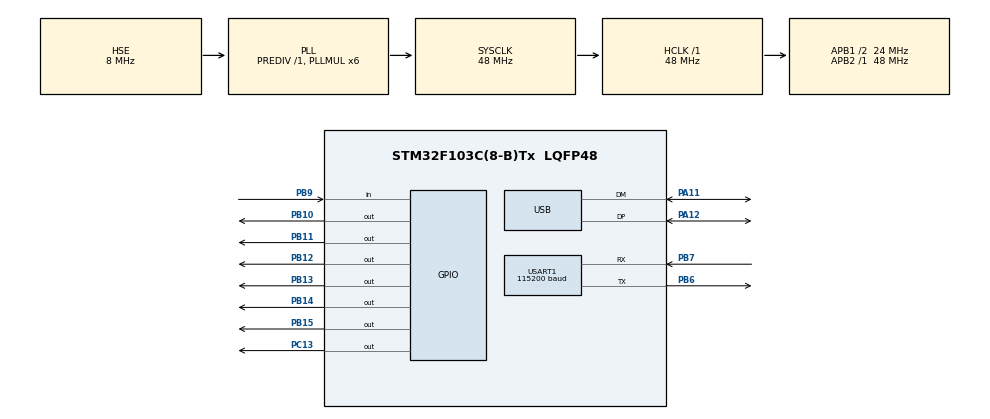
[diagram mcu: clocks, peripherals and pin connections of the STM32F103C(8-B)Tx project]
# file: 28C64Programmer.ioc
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Dma.Request0=USART1_RX
Dma.USART1_RX.0.Direction=DMA_PERIPH_TO_MEMORY
Dma.USART1_RX.0.Instance=DMA1_Channel5
Dma.USART1_RX.0.MemDataAlignment=DMA_MDATAALIGN_BYTE
Dma.USART1_RX.0.MemInc=DMA_MINC_ENABLE
Dma.USART1_RX.0.Mode=DMA_CIRCULAR
Dma.USART1_RX.0.PeriphDataAlignment=DMA_PDATAALIGN_BYTE
Dma.USART1_RX.0.PeriphInc=DMA_PINC_DISABLE
Dma.USART1_RX.0.Priority=DMA_PRIORITY_LOW
Mcu.Family=STM32F1
Mcu.Name=STM32F103C(8-B)Tx
Mcu.Package=LQFP48
NVIC.DMA1_Channel5_IRQn=true\:0\:0\:false\:false\:true\:false
NVIC.PriorityGroup=NVIC_PRIORITYGROUP_4
NVIC.USART1_IRQn=true\:0\:0\:false\:false\:true\:true
NVIC.USB_LP_CAN1_RX0_IRQn=true\:0\:0\:false\:false\:true\:false
PA11.Mode=Device
PA11.Signal=USB_DM
PA12.Mode=Device
PA12.Signal=USB_DP
PA13.Mode=Serial_Wire
PA13.Signal=SYS_JTMS-SWDIO
PA14.Mode=Serial_Wire
PA14.Signal=SYS_JTCK-SWCLK
PB10.Signal=GPIO_Output
PB11.Signal=GPIO_Output
PB12.Signal=GPIO_Output
PB13.Signal=GPIO_Output
PB14.Signal=GPIO_Output
PB15.Signal=GPIO_Output
PB6.Mode=Asynchronous
PB6.Signal=USART1_TX
PB7.Mode=Asynchronous
PB7.Signal=USART1_RX
PB9.GPIO_PuPd=GPIO_NOPULL
PB9.Signal=GPIO_Input
PC13-TAMPER-RTC.Signal=GPIO_Output
PD0-OSC_IN.Mode=HSE-External-Oscillator
PD0-OSC_IN.Signal=RCC_OSC_IN
PD1-OSC_OUT.Mode=HSE-External-Oscillator
PD1-OSC_OUT.Signal=RCC_OSC_OUT
ProjectManager.HeapSize=0x200
ProjectManager.StackSize=0x400
ProjectManager.TargetToolchain=SW4STM32
RCC.AHBFreq_Value=48000000
RCC.APB1CLKDivider=RCC_HCLK_DIV2
RCC.APB1Freq_Value=24000000
RCC.APB1TimFreq_Value=48000000
RCC.APB2Freq_Value=48000000
RCC.APB2TimFreq_Value=48000000
RCC.HCLKFreq_Value=48000000
RCC.PLLMUL=RCC_PLL_MUL6
RCC.SYSCLKFreq_VALUE=48000000
RCC.SYSCLKSource=RCC_SYSCLKSOURCE_PLLCLK
RCC.USBFreq_Value=48000000
USART1.BaudRate=115200
USART1.VirtualMode=VM_ASYNC
USB_DEVICE.CLASS_NAME_FS=MSC
USB_DEVICE.VirtualMode=Msc
USB_DEVICE.VirtualModeFS=Msc_FS
VP_TIM1_VS_ClockSourceITR.Mode=TriggerSource_ITR0
VP_USB_DEVICE_VS_USB_DEVICE_MSC_FS.Mode=MSC_FS
board=custom

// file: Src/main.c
/* USER CODE BEGIN Header */
/**
  ******************************************************************************
  * @file           : main.c
  * @brief          : Main program body
  ******************************************************************************
  * This notice applies to any and all portions of this file
  * that are not between comment pairs USER CODE BEGIN and
  * USER CODE END. Other portions of this file, whether
  * inserted by the user or by software development tools
  * are owned by their respective copyright owners.
  *
  * Copyright (c) 2019 STMicroelectronics International N.V.
  * All rights reserved.
  *
  * Redistribution and use in source and binary forms, with or without
  * modification, are permitted, provided that the following conditions are met:
  *
  * 1. Redistribution of source code must retain the above copyright notice,
  *    this list of conditions and the following disclaimer.
  * 2. Redistributions in binary form must reproduce the above copyright notice,
  *    this list of conditions and the following disclaimer in the documentation
  *    and/or other materials provided with the distribution.
  * 3. Neither the name of STMicroelectronics nor the names of other
  *    contributors to this software may be used to endorse or promote products
  *    derived from this software without specific written permission.
  * 4. This software, including modifications and/or derivative works of this
  *    software, must execute solely and exclusively on microcontroller or
  *    microprocessor devices manufactured by or for STMicroelectronics.
  * 5. Redistribution and use of this software other than as permitted under
  *    this license is void and will automatically terminate your rights under
  *    this license.
  *
  * THIS SOFTWARE IS PROVIDED BY STMICROELECTRONICS AND CONTRIBUTORS "AS IS"
  * AND ANY EXPRESS, IMPLIED OR STATUTORY WARRANTIES, INCLUDING, BUT NOT
  * LIMITED TO, THE IMPLIED WARRANTIES OF MERCHANTABILITY, FITNESS FOR A
  * PARTICULAR PURPOSE AND NON-INFRINGEMENT OF THIRD PARTY INTELLECTUAL PROPERTY
  * RIGHTS ARE DISCLAIMED TO THE FULLEST EXTENT PERMITTED BY LAW. IN NO EVENT
  * SHALL STMICROELECTRONICS OR CONTRIBUTORS BE LIABLE FOR ANY DIRECT, INDIRECT,
  * INCIDENTAL, SPECIAL, EXEMPLARY, OR CONSEQUENTIAL DAMAGES (INCLUDING, BUT NOT
  * LIMITED TO, PROCUREMENT OF SUBSTITUTE GOODS OR SERVICES; LOSS OF USE, DATA,
  * OR PROFITS; OR BUSINESS INTERRUPTION) HOWEVER CAUSED AND ON ANY THEORY OF
  * LIABILITY, WHETHER IN CONTRACT, STRICT LIABILITY, OR TORT (INCLUDING
  * NEGLIGENCE OR OTHERWISE) ARISING IN ANY WAY OUT OF THE USE OF THIS SOFTWARE,
  * EVEN IF ADVISED OF THE POSSIBILITY OF SUCH DAMAGE.
  *
  ******************************************************************************
  */
/* USER CODE END Header */

#include "main.h"
#include "dma.h"
#include "tim.h"
#include "usart.h"
#include "usb_device.h"
#include "gpio.h"

/* USER CODE BEGIN Includes */
#include "dwt_stm32_delay.h"
#include "command_queue.h"
#include "command_processor.h"
#include "rom28c64.h"
#include "74hc595.h"
/* USER CODE END Includes */

void SystemClock_Config(void);

/* USER CODE BEGIN 0 */
//#define DMA_RX_BUFFER_SIZE 64
extern uint8_t DMA_RX_Buffer[64];
command_queue* main_command_queue;
//
//#define UART_BUFFER_SIZE 256
//uint8_t UART_Buffer[UART_BUFFER_SIZE];
/* USER CODE END 0 */

int main(void)
{

  /* MCU Configuration--------------------------------------------------------*/

  /* Reset of all peripherals, Initializes the Flash interface and the Systick. */
  HAL_Init();

  /* Configure the system clock */
  SystemClock_Config();

  /* Initialize all configured peripherals */
  MX_GPIO_Init();
  MX_DMA_Init();
  MX_TIM1_Init();
  MX_USART1_UART_Init();
  MX_USB_DEVICE_Init();
  /* USER CODE BEGIN 2 */
  DWT_Delay_Init();

  if(HAL_DMA_Start(&hdma_usart1_rx, (uint32_t)&huart1.Instance->DR, (uint32_t) DMA_RX_Buffer, 64) != HAL_OK) {
    usart_send_string("error");
  }

  usart_send_string("Starting...");

  sr595* outReg = sr595_create(GPIOB, GPIO_PIN_12,
          GPIOB, GPIO_PIN_13, GPIOB, GPIO_PIN_14,
          3);

  sr165* inReg = sr165_create(GPIOB, GPIO_PIN_10, GPIOB, GPIO_PIN_11, GPIOB, GPIO_PIN_9);

  rom28c64* rom = rom28c64_create(GPIOB, GPIO_PIN_15, outReg, inReg);

  main_command_queue = command_queue_create_v();

  /* USER CODE END 2 */

  /* Infinite loop */
  while (1)
  {

  }
}

void SystemClock_Config(void)
{
  RCC_OscInitTypeDef RCC_OscInitStruct = {0};
  RCC_ClkInitTypeDef RCC_ClkInitStruct = {0};
  RCC_PeriphCLKInitTypeDef PeriphClkInit = {0};

  /**Initializes the CPU, AHB and APB busses clocks
  */
  RCC_OscInitStruct.OscillatorType = RCC_OSCILLATORTYPE_HSE;
  RCC_OscInitStruct.HSEState = RCC_HSE_ON;
  RCC_OscInitStruct.HSEPredivValue = RCC_HSE_PREDIV_DIV1;
  RCC_OscInitStruct.HSIState = RCC_HSI_ON;
  RCC_OscInitStruct.PLL.PLLState = RCC_PLL_ON;
  RCC_OscInitStruct.PLL.PLLSource = RCC_PLLSOURCE_HSE;
  RCC_OscInitStruct.PLL.PLLMUL = RCC_PLL_MUL6;
  if (HAL_RCC_OscConfig(&RCC_OscInitStruct) != HAL_OK)
  {
    Error_Handler();
  }
  /**Initializes the CPU, AHB and APB busses clocks
  */
  RCC_ClkInitStruct.ClockType = RCC_CLOCKTYPE_HCLK|RCC_CLOCKTYPE_SYSCLK
                              |RCC_CLOCKTYPE_PCLK1|RCC_CLOCKTYPE_PCLK2;
  RCC_ClkInitStruct.SYSCLKSource = RCC_SYSCLKSOURCE_PLLCLK;
  RCC_ClkInitStruct.AHBCLKDivider = RCC_SYSCLK_DIV1;
  RCC_ClkInitStruct.APB1CLKDivider = RCC_HCLK_DIV2;
  RCC_ClkInitStruct.APB2CLKDivider = RCC_HCLK_DIV1;

  if (HAL_RCC_ClockConfig(&RCC_ClkInitStruct, FLASH_LATENCY_1) != HAL_OK)
  {
    Error_Handler();
  }
  PeriphClkInit.PeriphClockSelection = RCC_PERIPHCLK_USB;
  PeriphClkInit.UsbClockSelection = RCC_USBCLKSOURCE_PLL;
  if (HAL_RCCEx_PeriphCLKConfig(&PeriphClkInit) != HAL_OK)
  {
    Error_Handler();
  }
}

void Error_Handler(void)
{
}

/************************ (C) COPYRIGHT STMicroelectronics *****END OF FILE****/
